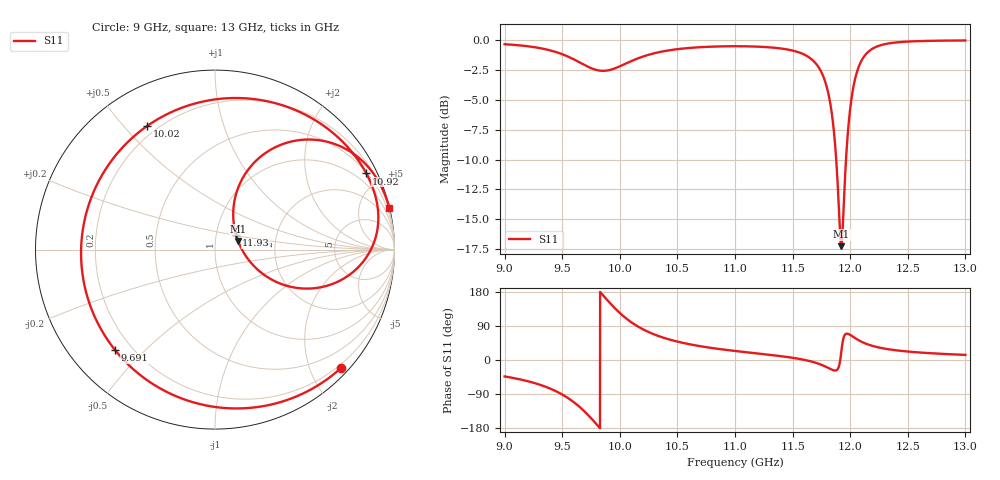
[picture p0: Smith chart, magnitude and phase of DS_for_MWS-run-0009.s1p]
! TOUCHSTONE file generated by CST DESIGN STUDIO
! Date and time: Tue Feb  4 14:21:48 2025
! Project name: C:\Work\MatlabApps\UnitCellOptimizationMatlab\CST\unitcell.cst
! Tree item: Tasks\Sweep1\SPara1\S-Parameters
! Header version: 2024
! Port assignment regex: !\s*Touchstone port\s*([0-9]+)\s*=\s*(CST MWS port|CST DES external port|CST DES block port)\s*(.+)\s* \(\"(.*)\"\)(\s*mode\s*([0-9]+))?.*
! Touchstone port assignment:
! Touchstone port 1 = CST DES external port 1 ("")
# GHz S MA R 50
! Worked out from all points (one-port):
!   4001 points, 9 GHz to 13 GHz, reference 50 ohm
!   lowest |S11| = -17.3 dB at 11.92 GHz (marker M1), VSWR 1.32, Z = 64.5 + j6.02 ohm
!   |S11| at or under -10 dB: 11.88 GHz to 11.96 GHz (84.95 MHz wide, 0.713 % of centre)
!   S11 on the Smith chart (normalised r, x): 9 GHz: 0.14, -2.51; 9.691 GHz: 0.14, -0.41; 10.02 GHz: 0.16, +0.58; 10.92 GHz: 0.53, +4.15; 11.93 GHz: 1.25, +0.20; 13 GHz: 0.05, +8.46
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9  0.9631 -43.4
9.276  0.933 -62.3
9.5  0.8745 -91.0
9.601  0.832 -111.4
9.691  0.7893 -135.0
9.77  0.7581 -160.0
9.84  0.7452 175.8
9.912  0.7509 151.1
10  0.778 124.1
10.019  0.7855 118.9
10.1  0.8183 99.6
10.194  0.8526 82.1
10.337  0.8912 63.1
10.5  0.9181 48.5
10.922  0.9439 26.7
11  0.9445 23.8
11.5  0.9059 5.8
11.681  0.8195 -5.5
11.796  0.6389 -18.9
11.856  0.427 -27.2
11.922  0.1371 19.5
11.928  0.1425 34.4
11.962  0.307 68.7
12  0.5173 66.3
12.07  0.7654 52.8
12.187  0.9181 37.8
12.5  0.988 22.3
13  0.9986 13.5
